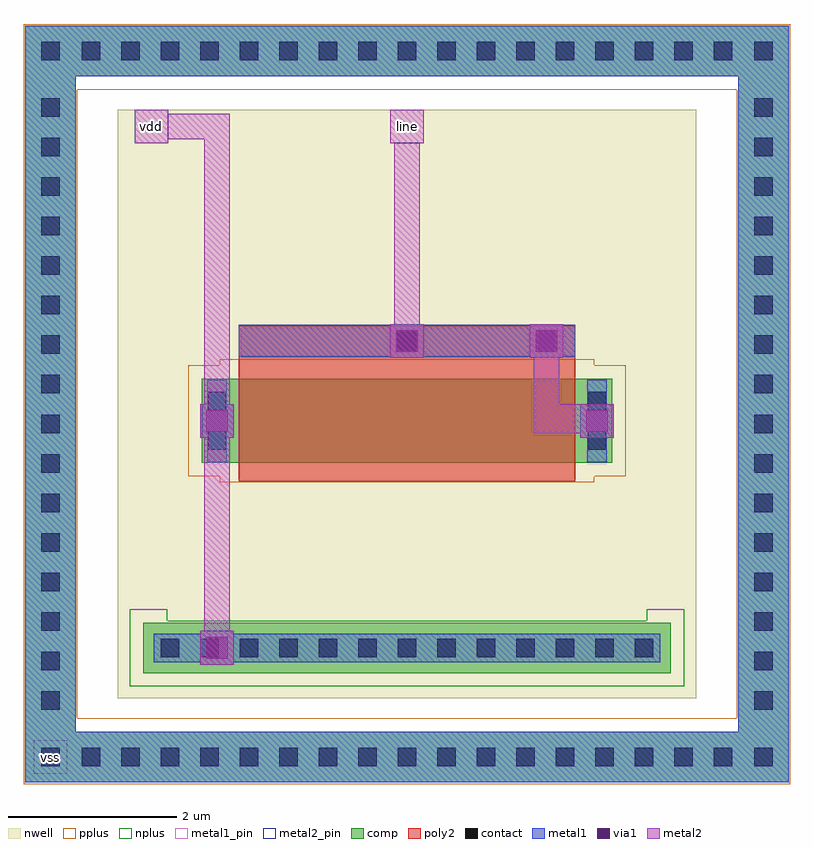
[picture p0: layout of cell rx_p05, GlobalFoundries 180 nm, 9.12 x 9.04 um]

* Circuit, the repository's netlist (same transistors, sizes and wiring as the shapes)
* NGSPICE file created from rx_p05.ext - technology: gf180mcuD

.subckt p_w1_l4 a_n488_n100# a_400_n100# a_n400_n144# w_n574_n230#
X0 a_400_n100# a_n400_n144# a_n488_n100# w_n574_n230# pfet_03v3 ad=0.44p pd=2.88u as=0.44p ps=2.88u w=1u l=4u
.ends

.subckt rx_p05 line vdd vss
XD vdd line line vdd p_w1_l4
.ends

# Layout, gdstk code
import gdstk
lib = gdstk.Library(unit=1e-6, precision=1e-09)
def R(c, l, rs):  # rectangles x0, y0, x1, y1
    for r in rs: c.add(gdstk.rectangle(r[:2], r[2:], *l))
def A(c, l, x, y, w, h, nx, ny, dx, dy):  # array of equal rectangles
    R(c, l, [(x+i*dx, y+j*dy, x+i*dx+w, y+j*dy+h) for i in range(nx) for j in range(ny)])
nwell = (21, 0)
comp = (22, 0)
poly2 = (30, 0)
pplus = (31, 0)
nplus = (32, 0)
contact = (33, 0)
metal1 = (34, 0)
metal1_pin = (34, 10)
via1 = (35, 0)
metal2 = (36, 0)
metal2_pin = (36, 10)

p_w1_l4 = lib.new_cell('p_w1_l4')
R(p_w1_l4, nwell, [(-2.87,-1.15,2.87,1.15)])
R(p_w1_l4, comp, [(-2.44,-0.5,2.44,0.5)])
R(p_w1_l4, poly2, [(-2,-0.72,2,0.72)])
R(p_w1_l4, pplus, [(-2.23,-0.73,2.23,-0.66), (-2.6,-0.66,2.6,0.66), (-2.23,0.66,2.23,0.73)])
R(p_w1_l4, contact, [(-2.37,-0.345,-2.15,-0.125), (2.15,-0.345,2.37,-0.125), (-2.37,0.125,-2.15,0.345), (2.15,0.125,2.37,0.345)])
R(p_w1_l4, metal1, [(-2.375,-0.49,-2.145,0.49), (2.145,-0.49,2.375,0.49)])

rx_p05 = lib.new_cell('rx_p05')
R(rx_p05, nwell, [(1.1,1,7.98,8)])
R(rx_p05, comp, [(0,0,9.08,0.6), (0,0.6,0.6,8.4), (8.48,0.6,9.08,8.4), (1.4,1.3,7.68,1.9), (0,8.4,9.08,9)])
R(rx_p05, poly2, [(2.54,4.8,6.54,5.43)])
R(rx_p05, pplus, [(-0.02,-0.02,9.1,0.76), (-0.02,0.76,0.62,8.24), (8.46,0.76,9.1,8.24), (-0.02,8.24,9.1,9.02)])
R(rx_p05, nplus, [(1.24,1.14,7.84,1.92), (1.24,1.92,1.69,2.06), (7.39,1.92,7.84,2.06)])
A(rx_p05, contact, 0.67, 0.19, 0.22, 0.22, 17, 2, 0.47, 8.4)
A(rx_p05, contact, 0.19, 0.865, 0.22, 0.22, 1, 16, 0, 0.47)
A(rx_p05, contact, 8.67, 0.865, 0.22, 0.22, 1, 16, 0, 0.47)
A(rx_p05, contact, 1.61, 1.49, 0.22, 0.22, 13, 1, 0.47, 0)
R(rx_p05, contact, [(0.19,0.19,0.41,0.41), (8.67,0.19,8.89,0.41), (4.43,5.14,4.65,5.36), (0.19,8.59,0.41,8.81), (8.67,8.59,8.89,8.81)])
R(rx_p05, metal1, [(0,0,9.08,0.6), (0,0.6,0.6,8.4), (8.48,0.6,9.08,8.4), (2.08,1.4,2.48,1.43), (1.53,1.43,7.55,1.77), (2.08,1.77,2.48,1.8), (2.08,4.1,2.48,4.5), (6.6,4.1,7,4.5), (4.34,5.05,4.74,5.06), (6,5.05,6.4,5.06), (2.54,5.06,6.54,5.44), (4.34,5.44,4.74,5.45), (6,5.44,6.4,5.45), (0,8.4,9.08,9)])
R(rx_p05, metal1_pin, [(0.1,0.1,0.5,0.5)])
R(rx_p05, via1, [(2.15,1.47,2.41,1.73), (2.15,4.17,2.41,4.43), (6.67,4.17,6.93,4.43), (4.41,5.12,4.67,5.38), (6.07,5.12,6.33,5.38)])
R(rx_p05, metal2, [(2.08,1.4,2.48,1.8), (2.13,1.8,2.43,4.1), (2.08,4.1,2.48,4.5), (6.6,4.1,7,4.15), (6.05,4.15,7,4.5), (2.13,4.5,2.43,7.65), (6.05,4.5,6.35,5.05), (4.34,5.05,4.74,5.45), (6,5.05,6.4,5.45), (4.39,5.45,4.69,7.6), (1.3,7.6,1.7,7.65), (4.34,7.6,4.74,8), (1.3,7.65,2.43,7.95), (1.3,7.95,1.7,8)])
R(rx_p05, metal2_pin, [(1.3,7.6,1.7,8), (4.34,7.6,4.74,8)])
rx_p05.add(gdstk.Reference(p_w1_l4, (4.54,4.3)))
rx_p05.add(gdstk.Label('line', (4.54,7.8), layer=36, texttype=10))
rx_p05.add(gdstk.Label('vdd', (1.5,7.8), layer=36, texttype=10))
rx_p05.add(gdstk.Label('vss', (0.3,0.3), layer=34, texttype=10))

lib.write_gds('rx_p05.gds')
